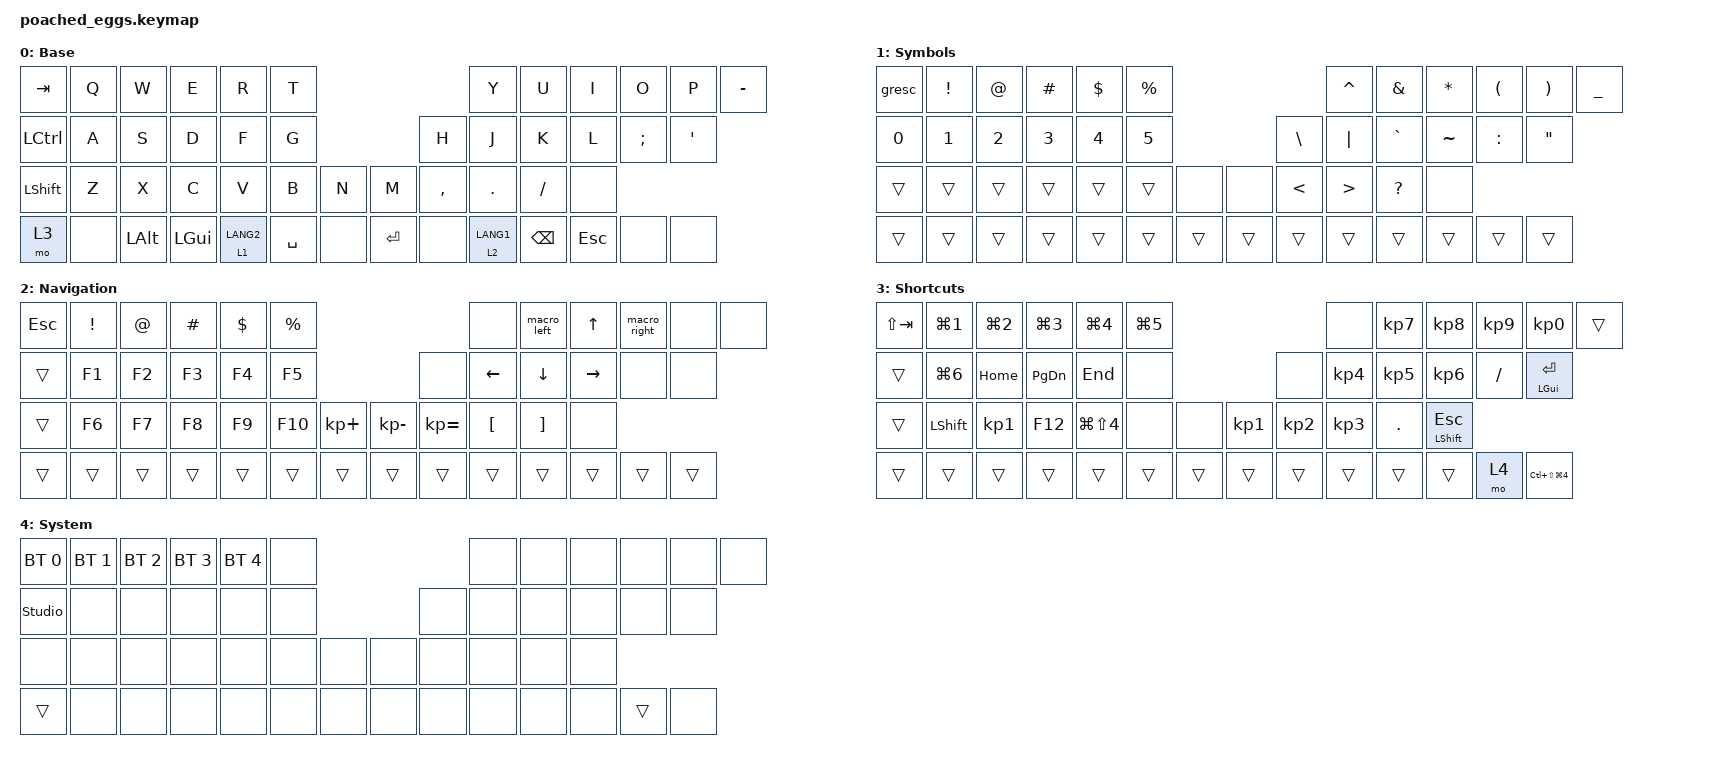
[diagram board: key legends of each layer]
// goforty migration for poached-eggs, macOS US layout.
// Rows: left 6 + right 6, repeated 3 times; bottom left 7 + right 7.
#include <behaviors.dtsi>
#include <dt-bindings/zmk/keys.h>
#include <dt-bindings/zmk/bt.h>

// Match the author-published O51Go VIA config: TAPPING_TERM 180,
// HOLD_ON_OTHER_KEY_PRESS and QUICK_TAP_TERM 0.
&lt { tapping-term-ms = <180>; flavor = "hold-preferred"; quick-tap-ms = <0>; };
&mt { tapping-term-ms = <180>; flavor = "hold-preferred"; quick-tap-ms = <0>; };

/ {
    behaviors {
        gresc: grave_escape {
            compatible = "zmk,behavior-mod-morph";
            #binding-cells = <0>;
            bindings = <&kp ESC>, <&kp GRAVE>;
            mods = <(MOD_LSFT | MOD_RSFT | MOD_LGUI | MOD_RGUI)>;
            keep-mods = <(MOD_LSFT | MOD_RSFT | MOD_LGUI | MOD_RGUI)>;
        };
    };
    macros {
        macro_left: macro_left {
            compatible = "zmk,behavior-macro";
            #binding-cells = <0>;
            wait-ms = <0>;
            tap-ms = <5>;
            bindings = <&macro_tap &kp LC(LA(LEFT))>;
        };
        macro_right: macro_right {
            compatible = "zmk,behavior-macro";
            #binding-cells = <0>;
            wait-ms = <0>;
            tap-ms = <5>;
            bindings = <&macro_tap &kp LC(LA(RIGHT))>;
        };
    };
    keymap {
        compatible = "zmk,keymap";
        layer_0 {
            display-name = "Base";
            bindings = <
                &kp TAB  &kp Q  &kp W  &kp E  &kp R  &kp T  &kp Y  &kp U  &kp I  &kp O  &kp P  &kp MINUS
                &kp LCTRL  &kp A  &kp S  &kp D  &kp F  &kp G  &kp H  &kp J  &kp K  &kp L  &kp SEMI  &kp SQT
                &kp LSHFT  &kp Z  &kp X  &kp C  &kp V  &kp B  &kp N  &kp M  &kp COMMA  &kp DOT  &kp FSLH  &none
                &mo 3  &none  &kp LALT  &kp LGUI  &lt 1 LANG2  &kp SPACE  &none  &kp RET  &none  &lt 2 LANG1  &kp BSPC  &kp ESC  &none  &none
            >;
        };
        layer_1 {
            display-name = "Symbols";
            bindings = <
                &gresc  &kp EXCL  &kp AT  &kp HASH  &kp DOLLAR  &kp PRCNT  &kp CARET  &kp AMPS  &kp ASTRK  &kp LPAR  &kp RPAR  &kp UNDER
                &kp N0  &kp N1  &kp N2  &kp N3  &kp N4  &kp N5  &kp BSLH  &kp PIPE  &kp GRAVE  &kp TILDE  &kp COLON  &kp DQT
                &trans  &trans  &trans  &trans  &trans  &trans  &none  &none  &kp LT  &kp GT  &kp QMARK  &none
                &trans  &trans  &trans  &trans  &trans  &trans  &trans  &trans  &trans  &trans  &trans  &trans  &trans  &trans
            >;
        };
        layer_2 {
            display-name = "Navigation";
            bindings = <
                &kp ESC  &kp EXCL  &kp AT  &kp HASH  &kp DOLLAR  &kp PRCNT  &none  &macro_left  &kp UP  &macro_right  &none  &none
                &trans  &kp F1  &kp F2  &kp F3  &kp F4  &kp F5  &none  &kp LEFT  &kp DOWN  &kp RIGHT  &none  &none
                &trans  &kp F6  &kp F7  &kp F8  &kp F9  &kp F10  &kp KP_PLUS  &kp KP_MINUS  &kp KP_EQUAL  &kp LBKT  &kp RBKT  &none
                &trans  &trans  &trans  &trans  &trans  &trans  &trans  &trans  &trans  &trans  &trans  &trans  &trans  &trans
            >;
        };
        layer_3 {
            display-name = "Shortcuts";
            bindings = <
                &kp LS(TAB)  &kp LG(N1)  &kp LG(N2)  &kp LG(N3)  &kp LG(N4)  &kp LG(N5)  &none  &kp KP_N7  &kp KP_N8  &kp KP_N9  &kp KP_N0  &trans
                &trans  &kp LG(N6)  &kp HOME  &kp PG_DN  &kp END  &none  &none  &kp KP_N4  &kp KP_N5  &kp KP_N6  &kp FSLH  &mt LGUI RET
                &trans  &kp LSHFT  &kp KP_N1  &kp F12  &kp LG(LS(N4))  &none  &none  &kp KP_N1  &kp KP_N2  &kp KP_N3  &kp DOT  &mt LSHFT ESC
                &trans  &trans  &trans  &trans  &trans  &trans  &trans  &trans  &trans  &trans  &trans  &trans  &mo 4  &kp LC(LS(LG(N4)))
            >;
        };
        layer_4 {
            display-name = "System";
            bindings = <
                &bt BT_SEL 0  &bt BT_SEL 1  &bt BT_SEL 2  &bt BT_SEL 3  &bt BT_SEL 4  &none  &none  &none  &none  &none  &none  &none
                &studio_unlock  &none  &none  &none  &none  &none  &none  &none  &none  &none  &none  &none
                &none  &none  &none  &none  &none  &none  &none  &none  &none  &none  &none  &none
                &trans  &none  &none  &none  &none  &none  &none  &none  &none  &none  &none  &none  &trans  &none
            >;
        };
    };
};
